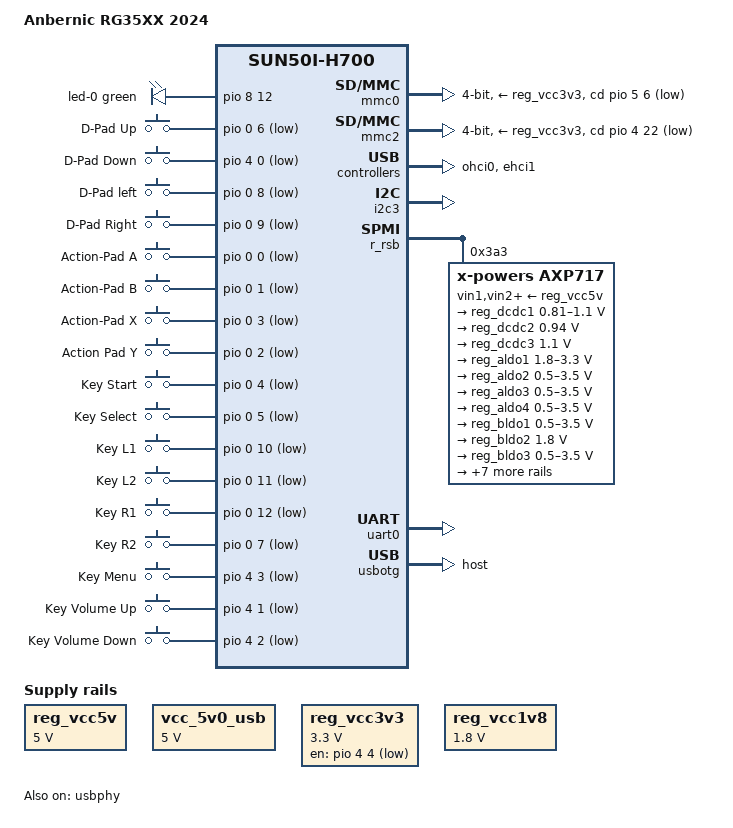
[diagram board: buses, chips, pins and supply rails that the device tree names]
// SPDX-License-Identifier: (GPL-2.0-only OR BSD-2-Clause)
/*
 * Copyright (C) 2024 Andre Przywara <andre.przywara@arm.com>.
 * Copyright (C) 2024 Ryan Walklin <ryan@testtoast.com>.
 * Copyright (C) 2024 Chris Morgan <macroalpha82@gmail.com>.
 */

/dts-v1/;

#include "sun50i-h616.dtsi"

#include <dt-bindings/gpio/gpio.h>
#include <dt-bindings/input/linux-event-codes.h>
#include <dt-bindings/interrupt-controller/arm-gic.h>
#include <dt-bindings/leds/common.h>

/ {
    model = "Anbernic RG35XX 2024";
    compatible = "anbernic,rg35xx-2024", "allwinner,sun50i-h700";

    aliases {
        mmc0 = &mmc0;
        mmc1 = &mmc2;
        mmc2 = &mmc1;
        serial0 = &uart0;
    };

    chosen {
        stdout-path = "serial0:115200n8";
    };

    leds {
        compatible = "gpio-leds";

        led-0 {
            function = LED_FUNCTION_POWER;
            color = <LED_COLOR_ID_GREEN>;
            gpios = <&pio 8 12 GPIO_ACTIVE_HIGH>; /* PI12 */
            default-state = "on";
        };
    };

    gpio-keys {
       compatible = "gpio-keys";

       keyUp {
           label = "D-Pad Up";
           gpios = <&pio 0 6 GPIO_ACTIVE_LOW>; /* PA6 */
           linux,input-type = <EV_KEY>;
           linux,code = <BTN_DPAD_UP>;
        };

        keyDown {
            label = "D-Pad Down";
            gpios = <&pio 4 0 GPIO_ACTIVE_LOW>; /* PE0 */
            linux,input-type = <EV_KEY>;
            linux,code = <BTN_DPAD_DOWN>;
        };

        keyLeft {
            label = "D-Pad left";
            gpios = <&pio 0 8 GPIO_ACTIVE_LOW>; /* PA8 */
            linux,input-type = <EV_KEY>;
            linux,code = <BTN_DPAD_LEFT>;
        };

        keyRight {
            label = "D-Pad Right";
            gpios = <&pio 0 9 GPIO_ACTIVE_LOW>; /* PA9 */
            linux,input-type = <EV_KEY>;
            linux,code = <BTN_DPAD_RIGHT>;
        };

        keyA {
            label = "Action-Pad A";
            gpios = <&pio 0 0 GPIO_ACTIVE_LOW>; /* PA0 */
            linux,input-type = <EV_KEY>;
            linux,code = <BTN_EAST>;
        };

        keyB {
            label = "Action-Pad B";
            gpios = <&pio 0 1 GPIO_ACTIVE_LOW>; /* PA1 */
            linux,input-type = <EV_KEY>;
            linux,code = <BTN_SOUTH>;
        };

        keyX {
            label = "Action-Pad X";
            gpios = <&pio 0 3 GPIO_ACTIVE_LOW>; /* PA3 */
            linux,input-type = <EV_KEY>;
            linux,code = <BTN_NORTH>;
        };

        keyY {
            label = "Action Pad Y";
            gpios = <&pio 0 2 GPIO_ACTIVE_LOW>; /* PA2 */
            linux,input-type = <EV_KEY>;
            linux,code = <BTN_WEST>;
        };

        keyStart {
            label = "Key Start";
            gpios = <&pio 0 4 GPIO_ACTIVE_LOW>; /* PA4 */
            linux,input-type = <EV_KEY>;
            linux,code = <BTN_START>;
        };

        keySel {
            label = "Key Select";
            gpios = <&pio 0 5 GPIO_ACTIVE_LOW>; /* PA5 */
            linux,input-type = <EV_KEY>;
            linux,code = <BTN_SELECT>;
        };

        keyL1 {
            label = "Key L1";
            gpios = <&pio 0 10 GPIO_ACTIVE_LOW>; /* PA10 */
            linux,input-type = <EV_KEY>;
            linux,code = <BTN_TL>;
        };

        keyL2 {
            label = "Key L2";
            gpios = <&pio 0 11 GPIO_ACTIVE_LOW>; /* PA11 */
            linux,input-type = <EV_KEY>;
            linux,code = <BTN_TL2>;
        };

        keyR1 {
            label = "Key R1";
            gpios = <&pio 0 12 GPIO_ACTIVE_LOW>; /* PA12 */
            linux,input-type = <EV_KEY>;
            linux,code = <BTN_TR>;
        };

        keyR2 {
            label = "Key R2";
            gpios = <&pio 0 7 GPIO_ACTIVE_LOW>; /* PA7 */
            linux,input-type = <EV_KEY>;
            linux,code = <BTN_TR2>;
        };

        keyMenu {
            label = "Key Menu";
            gpios = <&pio 4 3 GPIO_ACTIVE_LOW>; /* PE3 */
            linux,input-type = <EV_KEY>;
            linux,code = <BTN_MODE>;
        };

        keyVol+ {
            label = "Key Volume Up";
            gpios = <&pio 4 1 GPIO_ACTIVE_LOW>; /* PE1 */
            linux,input-type = <EV_KEY>;
            linux,code = <KEY_VOLUMEUP>;
        };

        keyVol- {
            label = "Key Volume Down";
            gpios = <&pio 4 2 GPIO_ACTIVE_LOW>; /* PE2 */
            linux,input-type = <EV_KEY>;
            linux,code = <KEY_VOLUMEDOWN>;
        };
    };

    reg_vcc5v: vcc5v {
        compatible = "regulator-fixed";
        regulator-name = "vcc-5v";
        regulator-always-on;
        regulator-boot-on;
        regulator-min-microvolt = <5000000>;
        regulator-max-microvolt = <5000000>;
    };

    vcc_5v0_usb: vcc-5v0-usb { /* needs gpios */
            compatible = "regulator-fixed";
            regulator-name = "vcc_5v0_usb";
            regulator-min-microvolt = <5000000>;
            regulator-max-microvolt = <5000000>;
            regulator-always-on;
            regulator-boot-on;
        };

    reg_vcc3v3: vcc3v3 {
        gpio = <&pio 4 4 GPIO_ACTIVE_HIGH>;
        compatible = "regulator-fixed";
        regulator-name = "vcc-3v3";
        regulator-always-on;
        regulator-boot-on;
        regulator-min-microvolt = <3300000>;
        regulator-max-microvolt = <3300000>;

    };

    reg_vcc1v8: vcc1v8 {
        compatible = "regulator-fixed";
        regulator-name = "vcc-1v8";
        regulator-always-on;
        regulator-min-microvolt = <1800000>;
        regulator-max-microvolt = <1800000>;
    };
};

&cpu0 {
    cpu-supply = <&reg_dcdc1>;
};

&mmc0 {
    vmmc-supply = <&reg_vcc3v3>;
    disable-wp;
    cd-gpios = <&pio 5 6 GPIO_ACTIVE_LOW>;  /* PF6 */
    bus-width = <4>;
    status = "okay";
};

&mmc2 {
    vmmc-supply = <&reg_vcc3v3>;
    vqmmc-supply = <&reg_aldo1>;
    cd-gpios = <&pio 4 22 GPIO_ACTIVE_LOW>; /* PE 22 */
    //cd-gpios = <&pio 4 16 GPIO_ACTIVE_LOW>;  /* PE16 */
    bus-width = <4>;
    status = "okay";
};

&ohci0 {
    status = "okay";
};

&ehci1 {
    status = "okay";
};

&i2c3 {
    pinctrl-names = "default";
    pinctrl-0 = <&i2c3_ph_pins>;
    status = "okay";
};

&r_rsb {
   status = "okay";

   axp717: pmic@3a3 {
       compatible = "x-powers,axp717";
       //interrupt-controller;
       //#interrupt-cells = <1>;
       reg = <0x3a3>;
       //interrupt-parent = <&r_intc>; /* test */
       //interrupts = <0 IRQ_TYPE_LEVEL_LOW>; /* test */

       vin1-supply = <&reg_vcc5v>;
       vin2-supply = <&reg_vcc5v>;
       vin3-supply = <&reg_vcc5v>;
       vin4-supply = <&reg_vcc5v>;

       regulators {
            reg_dcdc1: dcdc1 {
                regulator-always-on;
                regulator-boot-on;
                regulator-min-microvolt = <810000>;
                regulator-max-microvolt = <1100000>;
                regulator-name = "vdd-cpu";
            };

            reg_dcdc2: dcdc2 {
                regulator-always-on;
                regulator-boot-on;
                regulator-min-microvolt = <940000>;
                regulator-max-microvolt = <940000>;
                regulator-name = "vdd-sys";
            };

            reg_dcdc3: dcdc3 {
                regulator-always-on;
                regulator-boot-on;/* test */
                regulator-min-microvolt = <1100000>;
                regulator-max-microvolt = <1100000>;
                regulator-name = "vdd-dram";
            };

            reg_aldo1: aldo1 {
                regulator-always-on;
                regulator-boot-on;/* test */
                regulator-min-microvolt = <1800000>;
                regulator-max-microvolt = <3300000>;
                regulator-name = "vcc-sd2";
            };

            reg_aldo2: aldo2 {
                regulator-always-on;/* test */
                regulator-boot-on;/* test */
                regulator-min-microvolt = <500000>;
                regulator-max-microvolt = <3500000>;
                regulator-name = "axp717-aldo2";
            };

            reg_aldo3: aldo3 {
                regulator-always-on;
                regulator-boot-on;
                regulator-min-microvolt = <500000>;
                regulator-max-microvolt = <3500000>;
                regulator-name = "axp717-aldo3";
            };

            reg_aldo4: aldo4 {
                regulator-always-on;
                regulator-boot-on;
                regulator-min-microvolt = <500000>;
                regulator-max-microvolt = <3500000>;
                regulator-name = "axp717-aldo4";
            };

            reg_bldo1: bldo1 {
                regulator-always-on;/* test */
                regulator-boot-on;/* test */
                regulator-min-microvolt = <500000>;
                regulator-max-microvolt = <3500000>;
                regulator-name = "axp717-bldo1";
            };

            reg_bldo2: bldo2 {
                regulator-always-on;
                regulator-boot-on;
                regulator-min-microvolt = <1800000>;
                regulator-max-microvolt = <1800000>;
                regulator-name = "vcc-1v8";
            };

            reg_bldo3: bldo3 {
                regulator-always-on;/* test */
                regulator-boot-on;/* test */
                regulator-min-microvolt = <500000>;
                regulator-max-microvolt = <3500000>;
                regulator-name = "axp717-bldo3";
            };

            reg_bldo4: bldo4 {
                regulator-always-on;/* test */
                regulator-boot-on;/* test */
                regulator-min-microvolt = <500000>;
                regulator-max-microvolt = <3500000>;
                regulator-name = "axp717-bldo4";
            };

            reg_cldo1: cldo1 {
                regulator-always-on;/* test */
                regulator-boot-on;/* test */
                regulator-min-microvolt = <500000>;
                regulator-max-microvolt = <3500000>;
                regulator-name = "axp717-cldo1";
            };

            reg_cldo2: cldo2 {
                regulator-always-on;/* test */
                regulator-min-microvolt = <500000>;
                regulator-max-microvolt = <3500000>;
                regulator-name = "axp717-cldo2";
            };

            reg_cldo3: cldo3 {
                regulator-always-on;
                regulator-min-microvolt = <500000>;
                regulator-max-microvolt = <3500000>;
                regulator-name = "axp717-cldo3";
            };

            reg_cldo4: cldo4 {
                regulator-always-on;/* test */
                regulator-min-microvolt = <3300000>;
                regulator-max-microvolt = <3300000>;
                regulator-name = "vcc-wifi";
            };

            reg_boost: reg-boost {
                regulator-always-on;/* test */
                regulator-min-microvolt = <5000000>;
                regulator-max-microvolt = <5000000>;
                regulator-name = "boost";
            };

            reg_cpusldo: cpusldo {
                regulator-always-on;
                regulator-boot-on;
                regulator-min-microvolt = <500000>;
                regulator-max-microvolt = <1400000>;
                regulator-name = "cpusldo";
            };
       };
   };
};

&uart0 {
    pinctrl-names = "default";
    pinctrl-0 = <&uart0_ph_pins>;
    status = "okay";
};

/* the AXP717 has USB type-C role switch functionality, to be implemented */
&usbotg {
    dr_mode = "host";   /* USB type-C receptable */
    status = "okay";
};

&usbphy {
    status = "okay";
};
